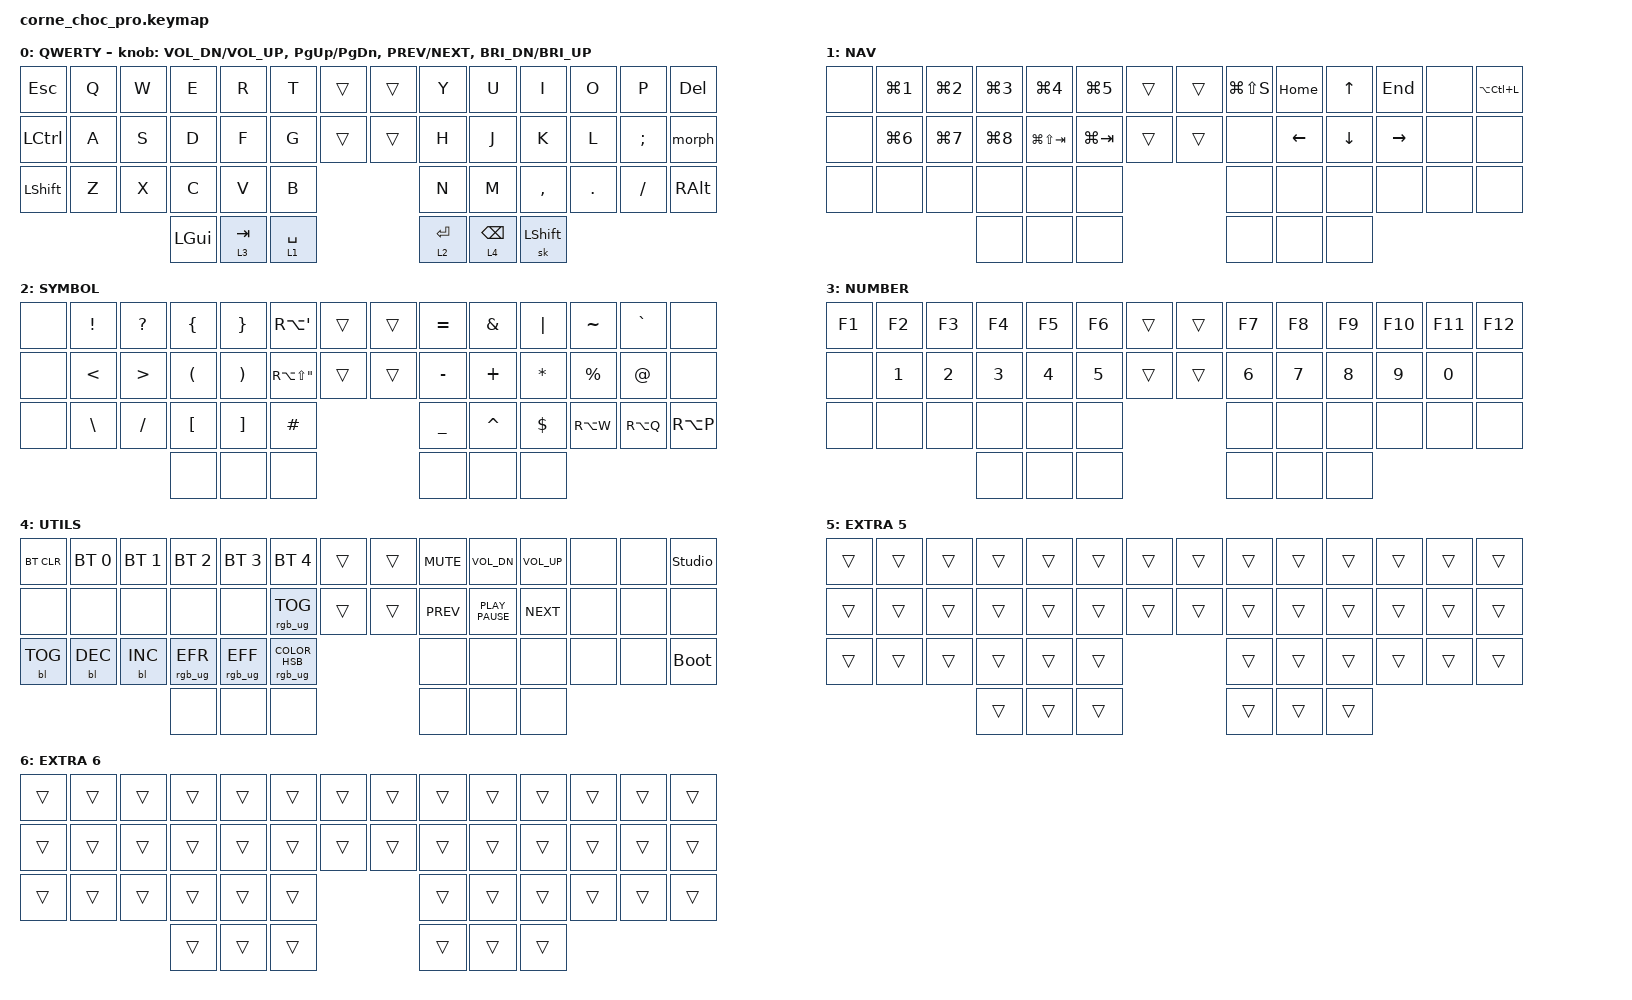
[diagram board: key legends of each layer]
/*
 * Copyright (c) 2020 The ZMK Contributors
 *
 * SPDX-License-Identifier: MIT
 */

#include <behaviors.dtsi>
#include <dt-bindings/zmk/backlight.h>
#include <dt-bindings/zmk/bt.h>
#include <dt-bindings/zmk/keys.h>
#include <dt-bindings/zmk/rgb.h>

/ {
    chosen { zmk,physical-layout = &default_layout; };
};

/ {
    behaviors {
        morph: morph {
            compatible = "zmk,behavior-mod-morph";
            label = "intl to us SQT";
            bindings = <&kp RA(SINGLE_QUOTE)>, <&kp RA(LS(SINGLE_QUOTE))>;

            #binding-cells = <0>;
            mods = <(MOD_LSFT)>;
        };
    };

    keymap {
        compatible = "zmk,keymap";

        default_layer {
            display-name = "QWERTY";

            // --------------------------------------------------------------------------------
            // |  TAB |  Q  |  W  |  E  |  R  |  T  |  MUTE |  PP   |  Y  |  U   |  I  |  O  |  P  | BSPC |
            // | CTRL |  A  |  S  |  D  |  F  |  G  |  LALT |  RALT |  H  |  J   |  K  |  L  |  ;  |  '   |
            // | SHFT |  Z  |  X  |  C  |  V  |  B  |               |  N  |  M   |  ,  |  .  |  /  | ESC  |
            //                    | GUI | LWR | SPC |               | ENT | RSE  | ALT |

            bindings = <
&kp ESCAPE  &kp Q  &kp W  &kp E     &kp R      &kp T        &trans  &trans  &kp Y      &kp U            &kp I           &kp O    &kp P     &kp DEL
&kp LCTRL   &kp A  &kp S  &kp D     &kp F      &kp G        &trans  &trans  &kp H      &kp J            &kp K           &kp L    &kp SEMI  &morph
&kp LSHFT   &kp Z  &kp X  &kp C     &kp V      &kp B                        &kp N      &kp M            &kp COMMA       &kp DOT  &kp FSLH  &kp RIGHT_ALT
                          &kp LGUI  &lt 3 TAB  &lt 1 SPACE                  &lt 2 RET  &lt 4 BACKSPACE  &sk LEFT_SHIFT
            >;

            sensor-bindings = <&inc_dec_kp C_VOL_DN C_VOL_UP &inc_dec_kp PG_UP PG_DN &inc_dec_kp C_PREV C_NEXT &inc_dec_kp C_BRI_DN C_BRI_UP>;
        };

        nav_layer {
            display-name = "NAV";
            bindings = <
&none  &kp LG(NUMBER_1)  &kp LG(NUMBER_2)  &kp LG(NUMBER_3)  &kp LG(NUMBER_4)  &kp LG(NUMBER_5)  &trans  &trans  &kp LG(LS(S))  &kp HOME  &kp UP    &kp END    &none  &kp LA(LC(L))
&none  &kp LG(NUMBER_6)  &kp LG(NUMBER_7)  &kp LG(NUMBER_8)  &kp LG(LS(TAB))   &kp LG(TAB)       &trans  &trans  &none          &kp LEFT  &kp DOWN  &kp RIGHT  &none  &none
&none  &none             &none             &none             &none             &none                             &none          &none     &none     &none      &none  &none
                                           &none             &none             &none                             &none          &none     &none
            >;
        };

        symb_layer {
            display-name = "SYMBOL";
            bindings = <
&none  &kp EXCL       &kp QUESTION      &kp LBRC  &kp RBRC  &kp RA(SINGLE_QUOTE)       &trans  &trans  &kp EQUAL  &kp AMPERSAND  &kp PIPE    &kp TILDE  &kp GRAVE    &none
&none  &kp LESS_THAN  &kp GREATER_THAN  &kp LPAR  &kp RPAR  &kp RA(LS(DOUBLE_QUOTES))  &trans  &trans  &kp MINUS  &kp PLUS       &kp ASTRK   &kp PRCNT  &kp AT_SIGN  &none
&none  &kp BACKSLASH  &kp SLASH         &kp LBKT  &kp RBKT  &kp HASH                                   &kp UNDER  &kp CARET      &kp DOLLAR  &kp RA(W)  &kp RA(Q)    &kp RA(P)
                                        &none     &none     &none                                      &none      &none          &none
            >;
        };

        num_layer {
            display-name = "NUMBER";
            bindings = <
&kp F1  &kp F2        &kp F3        &kp F4        &kp F5        &kp F6        &trans  &trans  &kp F7        &kp F8        &kp F9        &kp F10       &kp F11       &kp F12
&none   &kp NUMBER_1  &kp NUMBER_2  &kp NUMBER_3  &kp NUMBER_4  &kp NUMBER_5  &trans  &trans  &kp NUMBER_6  &kp NUMBER_7  &kp NUMBER_8  &kp NUMBER_9  &kp NUMBER_0  &none
&none   &none         &none         &none         &none         &none                         &none         &none         &none         &none         &none         &none
                                    &none         &none         &none                         &none         &none         &none
            >;
        };

        kb_utils {
            display-name = "UTILS";
            bindings = <
&bt BT_CLR  &bt BT_SEL 0  &bt BT_SEL 1  &bt BT_SEL 2     &bt BT_SEL 3     &bt BT_SEL 4                      &trans  &trans  &kp K_MUTE  &kp C_VOL_DN      &kp C_VOL_UP  &none  &none  &studio_unlock
&none       &none         &none         &none            &none            &rgb_ug RGB_TOG                   &trans  &trans  &kp K_PREV  &kp K_PLAY_PAUSE  &kp K_NEXT    &none  &none  &none
&bl BL_TOG  &bl BL_DEC    &bl BL_INC    &rgb_ug RGB_EFR  &rgb_ug RGB_EFF  &rgb_ug RGB_COLOR_HSB(101,0,100)                  &none       &none             &none         &none  &none  &bootloader
                                        &none            &none            &none                                             &none       &none             &none
            >;
        };

        extra_layer_5 {
            display-name = "EXTRA 5";
            bindings = <
&trans  &trans  &trans  &trans  &trans  &trans  &trans  &trans  &trans  &trans  &trans  &trans  &trans  &trans
&trans  &trans  &trans  &trans  &trans  &trans  &trans  &trans  &trans  &trans  &trans  &trans  &trans  &trans
&trans  &trans  &trans  &trans  &trans  &trans                  &trans  &trans  &trans  &trans  &trans  &trans
                        &trans  &trans  &trans                  &trans  &trans  &trans
            >;
        };

        extra_layer_6 {
            display-name = "EXTRA 6";
            bindings = <
&trans  &trans  &trans  &trans  &trans  &trans  &trans  &trans  &trans  &trans  &trans  &trans  &trans  &trans
&trans  &trans  &trans  &trans  &trans  &trans  &trans  &trans  &trans  &trans  &trans  &trans  &trans  &trans
&trans  &trans  &trans  &trans  &trans  &trans                  &trans  &trans  &trans  &trans  &trans  &trans
                        &trans  &trans  &trans                  &trans  &trans  &trans
            >;
        };
    };
};
